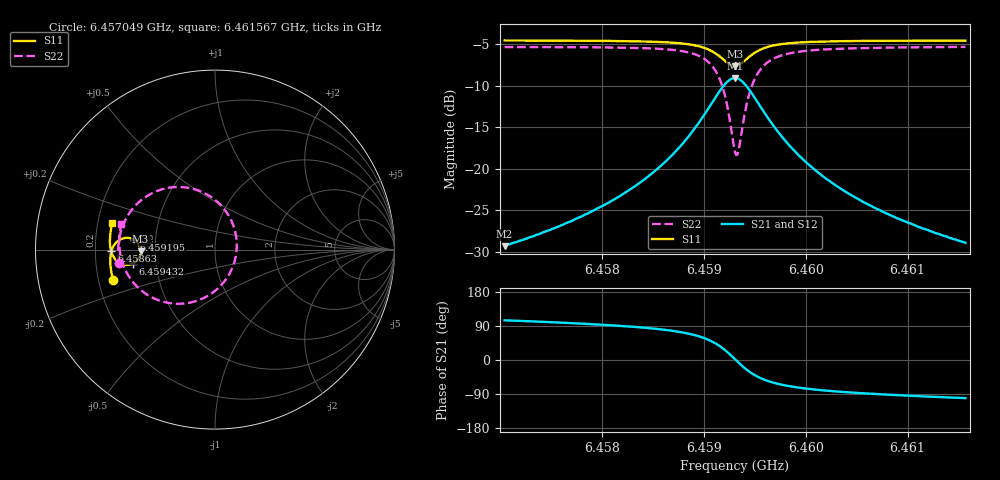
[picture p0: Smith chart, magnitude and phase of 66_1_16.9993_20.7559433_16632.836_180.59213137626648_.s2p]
#  HZ  S  RI  R  50.00
! Rohde & Schwarz Vector Network Analyzer
! Rohde-Schwarz,ZNB20-2Port,1311601062101988,3.16
! Created: UTC 3/20/2024, 10:55:00 PM
! freq[Hz]  re:S11  im:S11  re:S21  im:S21  re:S12  im:S12  re:S22  im:S22
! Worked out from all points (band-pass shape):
!   401 points, 6.457049 GHz to 6.461567 GHz, reference 50 ohm
!   highest |S21| = -9.08 dB at 6.459308 GHz (marker M1); lowest = -29.4 dB at 6.457049 GHz (marker M2)
!   |S21| within 3 dB of the highest: 6.459082 GHz to 6.459534 GHz (451.6 kHz wide, 0.00699 % of centre)
!   lowest |S11| = -7.6 dB at 6.459308 GHz (marker M3), VSWR 2.42, Z = 20.7 - j0.503 ohm
!   |S11| at or under -10 dB: nowhere
!   |S22| runs from -18.4 to -5.3 dB; largest |S21 - S12| = 0.014
!   S11 on the Smith chart (normalised r, x): 6.457049 GHz: 0.26, -0.14; 6.45863 GHz: 0.27, -0.01; 6.459195 GHz: 0.38, +0.05; 6.459432 GHz: 0.37, -0.07; 6.461567 GHz: 0.26, +0.12
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6.4570492e9  -0.5677 -0.1681  -0.00865 0.0329  -0.007 0.033  -0.5348 -0.0774
6.4578059e9  -0.5809 -0.1015  -0.00514 0.0513  -0.0027 0.0507  -0.539 0.0121
6.4582238e9  -0.5835 -0.0592  0.000894 0.0712  0.00417 0.0698  -0.5298 0.0794
6.4585627e9  -0.5794 -0.0182  0.0151 0.1004  0.019 0.0975  -0.5035 0.1573
6.4586305e9  -0.577 -0.00879  0.0206 0.1088  0.0247 0.1056  -0.4928 0.1773
6.4588225e9  -0.564 0.0217  0.0478 0.1402  0.0519 0.1351  -0.4419 0.2468
6.4589693e9  -0.5409 0.048  0.094 0.1709  0.0971 0.1642  -0.3567 0.3112
6.4591048e9  -0.4963 0.0654  0.1828 0.1873  0.1837 0.1799  -0.1944 0.3488
6.4591952e9  -0.4508 0.0546  0.2741 0.1549  0.2743 0.1492  -0.0258 0.2958
6.459263e9  -0.4212 0.0217  0.3352 0.0814  0.3374 0.0762  0.0902 0.1629
6.4593081e9  -0.4145 -0.0101  0.3512 0.0122  0.355 0.00516  0.1215 0.0334
6.459342e9  -0.4186 -0.0344  0.345 -0.041  0.3489 -0.0504  0.1087 -0.0674
6.4593872e9  -0.4345 -0.0609  0.3155 -0.1017  0.3178 -0.1138  0.0488 -0.1817
6.4594324e9  -0.4569 -0.0775  0.2726 -0.143  0.2718 -0.1566  -0.0382 -0.2566
6.4595227e9  -0.5012 -0.0845  0.1863 -0.1742  0.18 -0.1858  -0.21 -0.3019
6.4595905e9  -0.5259 -0.0772  0.1372 -0.1719  0.1291 -0.1808  -0.3044 -0.2858
6.4596696e9  -0.5457 -0.0641  0.0972 -0.1595  0.0884 -0.1657  -0.3793 -0.2504
6.459839e9  -0.5686 -0.0345  0.0495 -0.1292  0.042 -0.1317  -0.4637 -0.1722
6.4600649e9  -0.5806 -0.000851  0.0224 -0.0988  0.0165 -0.0994  -0.508 -0.0936
6.460415e9  -0.5853 0.0411  0.00593 -0.0708  0.00182 -0.0703  -0.5297 -0.0119
6.4608216e9  -0.5836 0.0823  -0.00151 -0.0526  -0.00437 -0.0519  -0.5336 0.054
6.4615671e9  -0.5719 0.1486  -0.00655 -0.0351  -0.00835 -0.0341  -0.5223 0.1431
